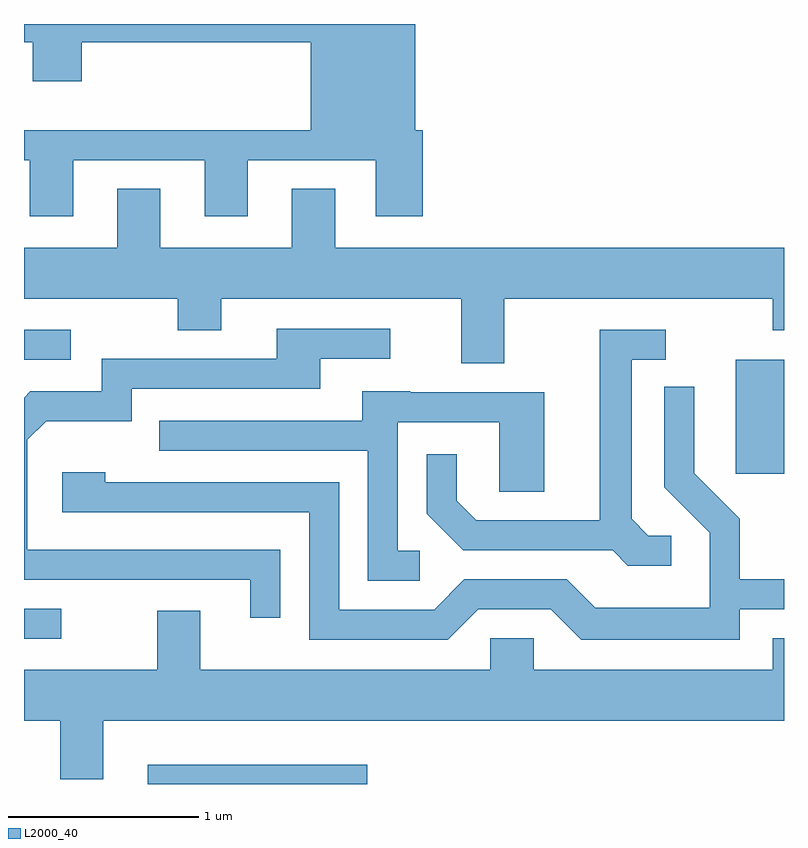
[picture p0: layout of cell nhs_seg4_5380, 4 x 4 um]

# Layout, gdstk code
import gdstk
lib = gdstk.Library(unit=1e-6, precision=1e-09)
def R(c, l, rs):  # rectangles x0, y0, x1, y1
    for r in rs: c.add(gdstk.rectangle(r[:2], r[2:], *l))
def P(c, l, *ps):  # polygons
    for p in ps: c.add(gdstk.Polygon(p, *l))
L2000_40 = (2000, 40)

nhs_seg4_5380 = lib.new_cell('nhs_seg4_5380')
R(nhs_seg4_5380, L2000_40, [(344.261,1269.982,345.418,1270.084), (343.611,1270.746,343.808,1270.904), (347.356,1271.616,347.611,1272.214), (343.611,1272.216,343.858,1272.374)])
P(nhs_seg4_5380, L2000_40, [(343.869,1273.266),(344.561,1273.266),(344.561,1272.971),(344.789,1272.971),(344.789,1273.266),(345.461,1273.266),(345.461,1272.971),(345.709,1272.971),(345.709,1273.424),(345.669,1273.424),(345.669,1273.982),(343.611,1273.982),(343.611,1273.886),(343.656,1273.886),(343.656,1273.681),(343.914,1273.681),(343.914,1273.886),(345.121,1273.886),(345.121,1273.424),(343.611,1273.424),(343.611,1273.266),(343.641,1273.266),(343.641,1272.971),(343.869,1272.971)],
  [(345.249,1273.114),(345.021,1273.114),(345.021,1272.804),(344.329,1272.804),(344.329,1273.114),(344.101,1273.114),(344.101,1272.804),(343.611,1272.804),(343.611,1272.536),(344.421,1272.536),(344.421,1272.371),(344.649,1272.371),(344.649,1272.536),(345.911,1272.536),(345.911,1272.196),(346.139,1272.196),(346.139,1272.536),(347.551,1272.536),(347.551,1272.371),(347.611,1272.371),(347.611,1272.804),(345.249,1272.804)],
  [(344.959,1271.214),(343.629,1271.214),(343.629,1271.794),(343.727,1271.891),(344.179,1271.891),(344.179,1272.061),(345.169,1272.061),(345.169,1272.221),(345.538,1272.221),(345.538,1272.379),(344.941,1272.379),(344.941,1272.219),(344.021,1272.219),(344.021,1272.049),(343.644,1272.049),(343.611,1272.016),(343.611,1271.056),(344.801,1271.056),(344.801,1270.858),(344.959,1270.858)],
  [(347.018,1271.289),(346.897,1271.289),(346.809,1271.377),(346.809,1272.216),(346.988,1272.216),(346.988,1272.374),(346.641,1272.374),(346.641,1271.369),(345.992,1271.369),(345.889,1271.472),(345.889,1271.718),(345.731,1271.718),(345.731,1271.404),(345.924,1271.211),(346.709,1271.211),(346.789,1271.131),(347.018,1271.131)],
  [(346.002,1270.901),(346.384,1270.901),(346.544,1270.741),(347.379,1270.741),(347.379,1270.901),(347.611,1270.901),(347.611,1271.059),(347.379,1271.059),(347.379,1271.377),(347.139,1271.617),(347.139,1272.073),(346.981,1272.073),(346.981,1271.544),(347.221,1271.304),(347.221,1270.909),(346.617,1270.909),(346.467,1271.059),(345.929,1271.059),(345.769,1270.899),(345.269,1270.899),(345.269,1271.569),(344.039,1271.569),(344.039,1271.624),(343.811,1271.624),(343.811,1271.411),(345.111,1271.411),(345.111,1270.741),(345.842,1270.741)],
  [(345.693,1271.209),(345.579,1271.209),(345.579,1271.886),(346.111,1271.886),(346.111,1271.521),(346.349,1271.521),(346.349,1272.044),(345.645,1272.044),(345.645,1272.049),(345.391,1272.049),(345.391,1271.894),(344.323,1271.894),(344.323,1271.736),(345.421,1271.736),(345.421,1271.051),(345.693,1271.051)],
  [(344.029,1270.316),(347.611,1270.316),(347.611,1270.749),(347.551,1270.749),(347.551,1270.584),(346.294,1270.584),(346.294,1270.749),(346.066,1270.749),(346.066,1270.584),(344.539,1270.584),(344.539,1270.894),(344.311,1270.894),(344.311,1270.584),(343.611,1270.584),(343.611,1270.316),(343.801,1270.316),(343.801,1270.006),(344.029,1270.006)])

lib.write_gds('nhs_seg4_5380.gds')
